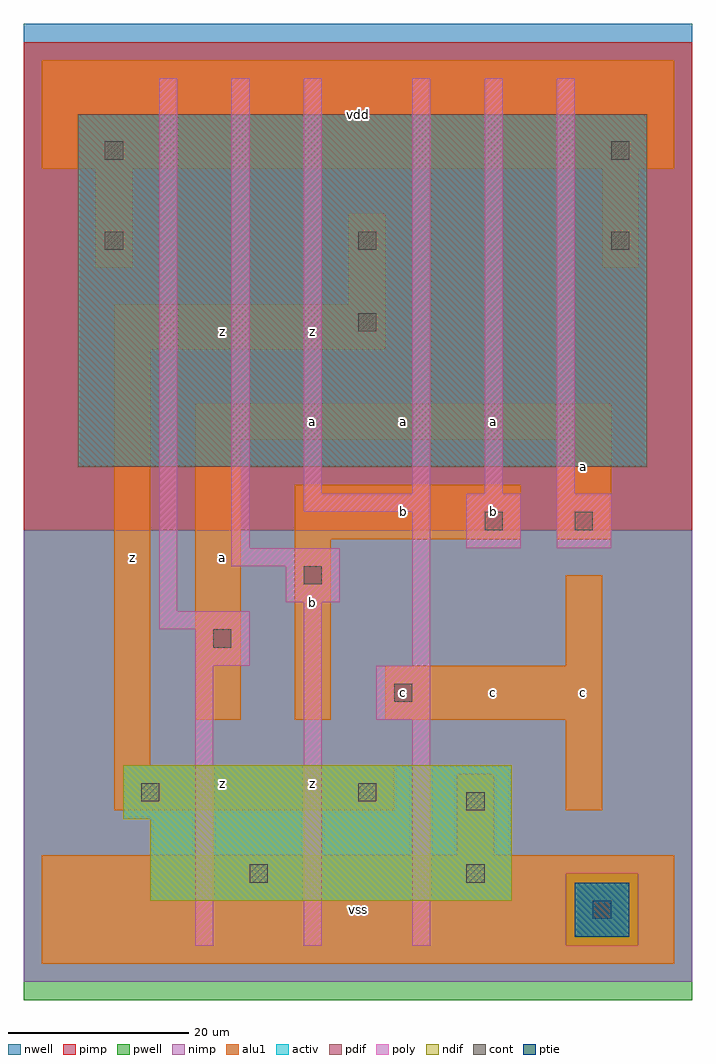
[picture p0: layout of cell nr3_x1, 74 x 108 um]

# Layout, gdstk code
import gdstk
lib = gdstk.Library(unit=1e-6, precision=1e-09)
def R(c, l, rs):  # rectangles x0, y0, x1, y1
    for r in rs: c.add(gdstk.rectangle(r[:2], r[2:], *l))
def A(c, l, x, y, w, h, nx, ny, dx, dy):  # array of equal rectangles
    R(c, l, [(x+i*dx, y+j*dy, x+i*dx+w, y+j*dy+h) for i in range(nx) for j in range(ny)])
ndif = (3, 0)
pdif = (4, 0)
ptie = (6, 0)
cont = (25, 0)
pwell = (41, 0)
nwell = (42, 0)
activ = (43, 0)
pimp = (44, 0)
nimp = (45, 0)
poly = (46, 0)
alu1 = (49, 0)

nr3_x1 = lib.new_cell('nr3_x1')
R(nr3_x1, ndif, [(12,7,52,16), (9,16,52,22)])
R(nr3_x1, pdif, [(4,55,67,94)])
R(nr3_x1, ptie, [(59,3,65,9)])
A(nr3_x1, cont, 7, 79, 2, 2, 3, 1, 28, 0)
R(nr3_x1, cont, [(61,5,63,7), (23,9,25,11), (47,9,49,11), (47,17,49,19), (11,18,13,20), (35,18,37,20), (39,29,41,31), (19,35,21,37), (29,42,31,44), (49,48,51,50), (59,48,61,50), (35,70,37,72), (7,89,9,91), (63,89,65,91)])
R(nr3_x1, pwell, [(-2,-4,72,48)])
R(nr3_x1, nwell, [(-2,48,72,104)])
R(nr3_x1, activ, [(59,3,65,9), (12,7,52,16), (9,16,52,22), (4,55,67,94)])
R(nr3_x1, pimp, [(58,2,66,10), (-2,48,72,102)])
R(nr3_x1, nimp, [(-2,-2,72,2), (-2,2,58,10), (66,2,72,10), (-2,10,72,48)])
A(nr3_x1, poly, 41, 52, 2, 46, 3, 1, 8, 0)
R(nr3_x1, poly, [(17,2,19,33), (29,2,31,40), (41,2,43,27), (37,27,43,33), (17,33,23,37), (41,33,43,50), (13,37,23,39), (13,39,15,98), (27,40,33,44), (21,44,33,46), (21,46,23,98), (47,46,53,52), (57,46,63,52), (29,50,43,52), (29,52,31,98)])
R(nr3_x1, alu1, [(0,0,70,12), (46,12,50,21), (8,17,39,22), (58,17,62,27), (8,22,12,68), (17,27,22,58), (28,27,32,47), (38,27,62,33), (58,33,62,43), (28,47,53,53), (57,47,63,58), (17,58,63,62), (8,68,38,73), (34,73,38,83), (6,77,10,88), (62,77,66,88), (0,88,70,100)])
nr3_x1.add(gdstk.Label('z', (20,20), layer=49, texttype=0))
nr3_x1.add(gdstk.Label('z', (10,45), layer=49, texttype=0))
nr3_x1.add(gdstk.Label('a', (20,45), layer=49, texttype=0))
nr3_x1.add(gdstk.Label('z', (20,70), layer=49, texttype=0))
nr3_x1.add(gdstk.Label('vss', (35,6), layer=49, texttype=0))
nr3_x1.add(gdstk.Label('z', (30,20), layer=49, texttype=0))
nr3_x1.add(gdstk.Label('b', (30,40), layer=49, texttype=0))
nr3_x1.add(gdstk.Label('a', (30,60), layer=49, texttype=0))
nr3_x1.add(gdstk.Label('z', (30,70), layer=49, texttype=0))
nr3_x1.add(gdstk.Label('vdd', (35,94), layer=49, texttype=0))
nr3_x1.add(gdstk.Label('c', (40,30), layer=49, texttype=0))
nr3_x1.add(gdstk.Label('c', (50,30), layer=49, texttype=0))
nr3_x1.add(gdstk.Label('b', (40,50), layer=49, texttype=0))
nr3_x1.add(gdstk.Label('b', (50,50), layer=49, texttype=0))
nr3_x1.add(gdstk.Label('a', (50,60), layer=49, texttype=0))
nr3_x1.add(gdstk.Label('a', (40,60), layer=49, texttype=0))
nr3_x1.add(gdstk.Label('c', (60,30), layer=49, texttype=0))
nr3_x1.add(gdstk.Label('a', (60,55), layer=49, texttype=0))

lib.write_gds('nr3_x1.gds')
